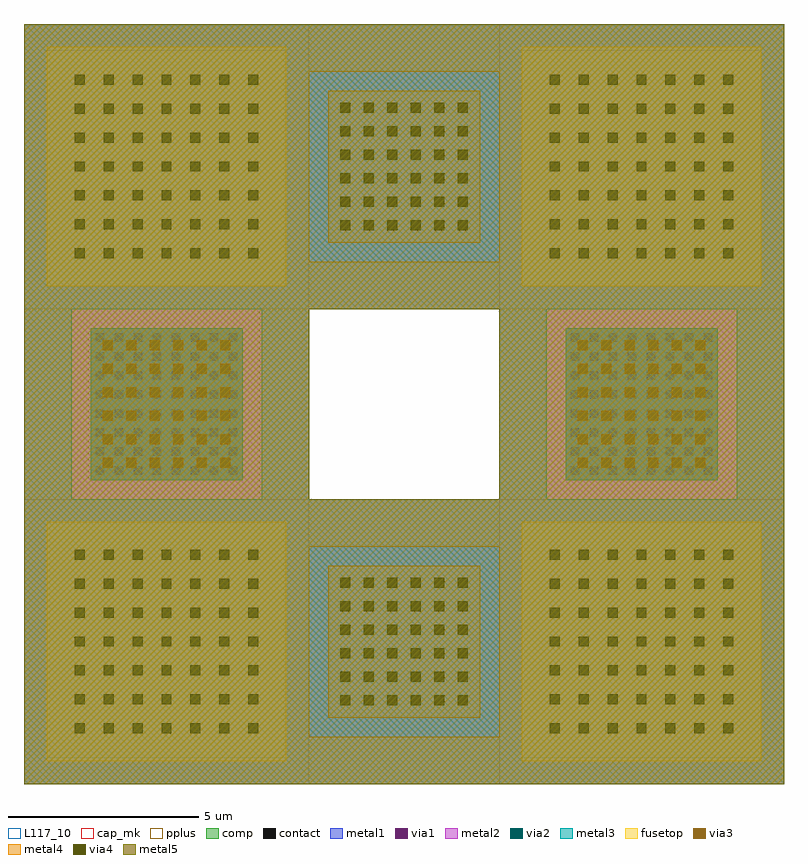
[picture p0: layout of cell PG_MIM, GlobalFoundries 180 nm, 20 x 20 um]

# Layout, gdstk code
from math import pi, radians
import gdstk
lib = gdstk.Library(unit=1e-6, precision=1e-09)
def R(c, l, rs):  # rectangles x0, y0, x1, y1
    for r in rs: c.add(gdstk.rectangle(r[:2], r[2:], *l))
def A(c, l, x, y, w, h, nx, ny, dx, dy):  # array of equal rectangles
    R(c, l, [(x+i*dx, y+j*dy, x+i*dx+w, y+j*dy+h) for i in range(nx) for j in range(ny)])
def P(c, l, *ps):  # polygons
    for p in ps: c.add(gdstk.Polygon(p, *l))
comp = (22, 0)
pplus = (31, 0)
contact = (33, 0)
metal1 = (34, 0)
via1 = (35, 0)
metal2 = (36, 0)
via2 = (38, 0)
via3 = (40, 0)
via4 = (41, 0)
metal3 = (42, 0)
metal4 = (46, 0)
fusetop = (75, 0)
metal5 = (81, 0)
cap_mk = (117, 5)
L117_10 = (117, 10)

pg_mim__cap_mim_3 = lib.new_cell('PG_MIM__cap_mim$3')
A(pg_mim__cap_mim_3, via4, 0.74, 0.74, 0.26, 0.26, 7, 7, 0.76, 0.76)
R(pg_mim__cap_mim_3, metal4, [(-0.6,-0.6,6.9,6.9)])
R(pg_mim__cap_mim_3, fusetop, [(0,0,6.3,6.3)])
R(pg_mim__cap_mim_3, metal5, [(0,0,6.3,6.3)])
R(pg_mim__cap_mim_3, cap_mk, [(-0.6,-0.6,6.9,6.9)])
R(pg_mim__cap_mim_3, L117_10, [(0,0,6.3,0.1)])

pg_mim__cap_mim_2 = lib.new_cell('PG_MIM__cap_mim$2')
A(pg_mim__cap_mim_2, via4, 0.74, 0.74, 0.26, 0.26, 7, 7, 0.76, 0.76)
R(pg_mim__cap_mim_2, metal4, [(-0.6,-0.6,6.9,6.9)])
R(pg_mim__cap_mim_2, fusetop, [(0,0,6.3,6.3)])
R(pg_mim__cap_mim_2, metal5, [(0,0,6.3,6.3)])
R(pg_mim__cap_mim_2, cap_mk, [(-0.6,-0.6,6.9,6.9)])
R(pg_mim__cap_mim_2, L117_10, [(0,0,6.3,0.1)])

pg_mim__cap_mim_1 = lib.new_cell('PG_MIM__cap_mim$1')
A(pg_mim__cap_mim_1, via4, 0.74, 0.74, 0.26, 0.26, 7, 7, 0.76, 0.76)
R(pg_mim__cap_mim_1, metal4, [(-0.6,-0.6,6.9,6.9)])
R(pg_mim__cap_mim_1, fusetop, [(0,0,6.3,6.3)])
R(pg_mim__cap_mim_1, metal5, [(0,0,6.3,6.3)])
R(pg_mim__cap_mim_1, cap_mk, [(-0.6,-0.6,6.9,6.9)])
R(pg_mim__cap_mim_1, L117_10, [(0,0,6.3,0.1)])

pg_mim__cap_mim = lib.new_cell('PG_MIM__cap_mim')
A(pg_mim__cap_mim, via4, 0.74, 0.74, 0.26, 0.26, 7, 7, 0.76, 0.76)
R(pg_mim__cap_mim, metal4, [(-0.6,-0.6,6.9,6.9)])
R(pg_mim__cap_mim, fusetop, [(0,0,6.3,6.3)])
R(pg_mim__cap_mim, metal5, [(0,0,6.3,6.3)])
R(pg_mim__cap_mim, cap_mk, [(-0.6,-0.6,6.9,6.9)])
R(pg_mim__cap_mim, L117_10, [(0,0,6.3,0.1)])

pg_mim__via_dev_8 = lib.new_cell('PG_MIM__via_dev$8')
R(pg_mim__via_dev_8, comp, [(0,0,4,4)])
A(pg_mim__via_dev_8, contact, 0.14, 0.14, 0.22, 0.22, 8, 8, 0.5, 0.5)
R(pg_mim__via_dev_8, metal1, [(0,0,4,4)])
A(pg_mim__via_dev_8, via1, 0.32, 0.32, 0.26, 0.26, 6, 6, 0.62, 0.62)
R(pg_mim__via_dev_8, metal2, [(0,0,4,4)])

pg_mim__via_dev_6 = lib.new_cell('PG_MIM__via_dev$6')
R(pg_mim__via_dev_6, metal2, [(0,0,4,4)])
A(pg_mim__via_dev_6, via2, 0.32, 0.32, 0.26, 0.26, 6, 6, 0.62, 0.62)
A(pg_mim__via_dev_6, via3, 0.32, 0.32, 0.26, 0.26, 6, 6, 0.62, 0.62)
R(pg_mim__via_dev_6, metal3, [(0,0,4,4)])
R(pg_mim__via_dev_6, metal4, [(0,0,4,4)])

pg_mim__via_dev_3 = lib.new_cell('PG_MIM__via_dev$3')
R(pg_mim__via_dev_3, comp, [(0,0,4,4)])
A(pg_mim__via_dev_3, contact, 0.14, 0.14, 0.22, 0.22, 8, 8, 0.5, 0.5)
R(pg_mim__via_dev_3, metal1, [(0,0,4,4)])
A(pg_mim__via_dev_3, via1, 0.32, 0.32, 0.26, 0.26, 6, 6, 0.62, 0.62)
R(pg_mim__via_dev_3, metal2, [(0,0,4,4)])

pg_mim__via_dev_5 = lib.new_cell('PG_MIM__via_dev$5')
A(pg_mim__via_dev_5, via3, 0.32, 0.32, 0.26, 0.26, 6, 6, 0.62, 0.62)
A(pg_mim__via_dev_5, via4, 0.32, 0.32, 0.26, 0.26, 6, 6, 0.62, 0.62)
R(pg_mim__via_dev_5, metal3, [(0,0,4,4)])
R(pg_mim__via_dev_5, metal4, [(0,0,4,4)])
R(pg_mim__via_dev_5, metal5, [(0,0,4,4)])

pg_mim__via_dev_4 = lib.new_cell('PG_MIM__via_dev$4')
R(pg_mim__via_dev_4, metal2, [(0,0,4,4)])
A(pg_mim__via_dev_4, via2, 0.32, 0.32, 0.26, 0.26, 6, 6, 0.62, 0.62)
A(pg_mim__via_dev_4, via3, 0.32, 0.32, 0.26, 0.26, 6, 6, 0.62, 0.62)
R(pg_mim__via_dev_4, metal3, [(0,0,4,4)])
R(pg_mim__via_dev_4, metal4, [(0,0,4,4)])

pg_mim__via_dev = lib.new_cell('PG_MIM__via_dev')
A(pg_mim__via_dev, via3, 0.32, 0.32, 0.26, 0.26, 6, 6, 0.62, 0.62)
A(pg_mim__via_dev, via4, 0.32, 0.32, 0.26, 0.26, 6, 6, 0.62, 0.62)
R(pg_mim__via_dev, metal3, [(0,0,4,4)])
R(pg_mim__via_dev, metal4, [(0,0,4,4)])
R(pg_mim__via_dev, metal5, [(0,0,4,4)])

pg_mim = lib.new_cell('PG_MIM')
P(pg_mim, pplus, [(-10,-10),(-10,2.5),(-2.5,2.5),(-2.5,-2.5),(2.5,-2.5),(2.5,2.5),(-10,2.5),(-10,10),(10,10),(10,-10)])
P(pg_mim, metal1, [(-10,-10),(-10,2.5),(-2.5,2.5),(-2.5,-2.5),(2.5,-2.5),(2.5,2.5),(-10,2.5),(-10,10),(10,10),(10,-10)])
P(pg_mim, metal2, [(-10,-10),(-10,2.5),(-2.5,2.5),(-2.5,-2.5),(2.5,-2.5),(2.5,2.5),(-10,2.5),(-10,10),(10,10),(10,-10)])
P(pg_mim, metal3, [(-10,-10),(-10,2.5),(-8.75,2.5),(-8.75,-2.5),(-3.75,-2.5),(-3.75,2.5),(-2.5,2.5),(-2.5,-2.5),(2.5,-2.5),(2.5,2.5),(3.75,2.5),(3.75,-2.5),(8.75,-2.5),(8.75,2.5),(-10,2.5),(-10,10),(10,10),(10,-10)])
P(pg_mim, metal4, [(-10,-10),(-10,-3.75),(-2.5,-3.75),(-2.5,-8.75),(2.5,-8.75),(2.5,-3.75),(-10,-3.75),(-10,2.5),(-2.5,2.5),(-2.5,-2.5),(2.5,-2.5),(2.5,2.5),(-10,2.5),(-10,8.75),(-2.5,8.75),(-2.5,3.75),(2.5,3.75),(2.5,8.75),(-10,8.75),(-10,10),(10,10),(10,-10)])
P(pg_mim, metal5, [(-10,-10),(-10,2.5),(-2.5,2.5),(-2.5,-2.5),(2.5,-2.5),(2.5,2.5),(-10,2.5),(-10,10),(10,10),(10,-10)],
  [(-10,-10),(-10,2.5),(-2.5,2.5),(-2.5,-2.5),(2.5,-2.5),(2.5,2.5),(-10,2.5),(-10,10),(10,10),(10,-10)])
pg_mim.add(gdstk.Reference(pg_mim__cap_mim_3, (9.4,9.4), rotation=pi))
pg_mim.add(gdstk.Reference(pg_mim__cap_mim_2, (-3.1,9.4), rotation=pi))
pg_mim.add(gdstk.Reference(pg_mim__cap_mim_1, (-9.4,-9.4)))
pg_mim.add(gdstk.Reference(pg_mim__cap_mim, (3.1,-9.4)))
pg_mim.add(gdstk.Reference(pg_mim__via_dev_8, (8.25,2), rotation=pi))
pg_mim.add(gdstk.Reference(pg_mim__via_dev_6, (8.25,2), rotation=pi))
pg_mim.add(gdstk.Reference(pg_mim__via_dev_3, (-8.25,-2)))
pg_mim.add(gdstk.Reference(pg_mim__via_dev_5, (2,4.25), rotation=pi/2))
pg_mim.add(gdstk.Reference(pg_mim__via_dev_4, (-8.25,-2)))
pg_mim.add(gdstk.Reference(pg_mim__via_dev, (-2,-4.25), rotation=3*pi/2))

lib.write_gds('PG_MIM.gds')
